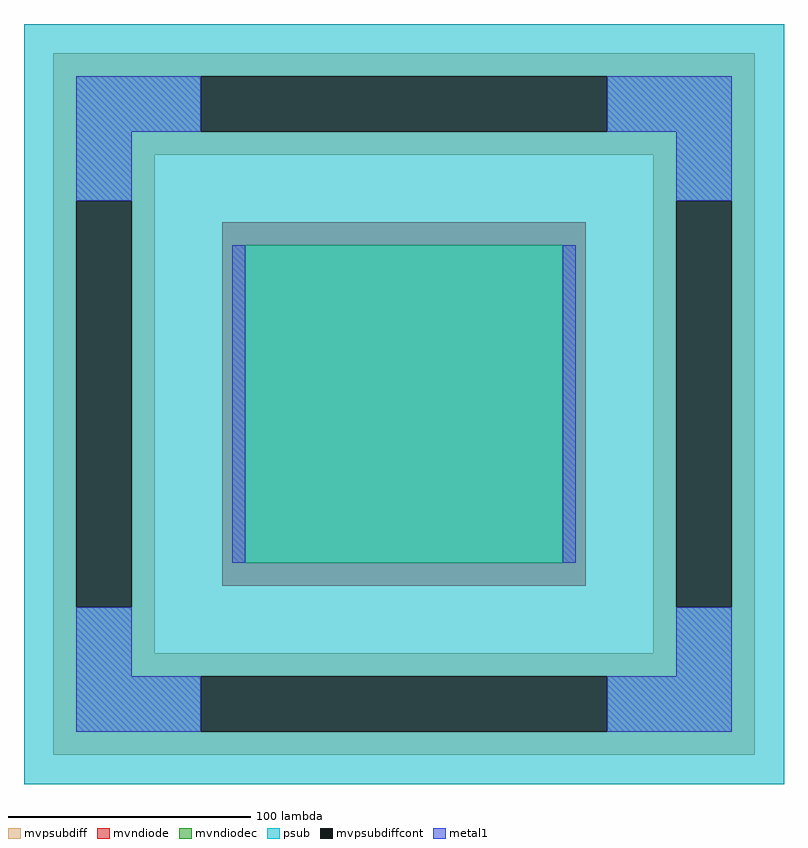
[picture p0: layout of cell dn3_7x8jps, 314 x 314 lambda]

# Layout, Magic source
magic
tech EFXH018D
magscale 1 2
<< psub >>
rect -314 -314 314 314
<< mvpsubdiff >>
rect -290 271 290 290
rect -290 225 -168 271
rect 168 225 290 271
rect -290 206 290 225
rect -290 168 -206 206
rect -290 -168 -271 168
rect -225 -168 -206 168
rect 206 168 290 206
rect -290 -206 -206 -168
rect 206 -168 225 168
rect 271 -168 290 168
rect 206 -206 290 -168
rect -290 -225 290 -206
rect -290 -271 -168 -225
rect 168 -271 290 -225
rect -290 -290 290 -271
<< mvpsubdiffcont >>
rect -168 225 168 271
rect -271 -168 -225 168
rect 225 -168 271 168
rect -168 -271 168 -225
<< mvndiode >>
rect -150 131 150 150
rect -150 -131 -131 131
rect 131 -131 150 131
rect -150 -150 150 -131
<< mvndiodec >>
rect -131 -131 131 131
<< metal1 >>
rect -271 225 -168 271
rect 168 225 271 271
rect -271 168 -225 225
rect 225 168 271 225
rect -142 -131 -131 131
rect 131 -131 142 131
rect -271 -225 -225 -168
rect 225 -225 271 -168
rect -271 -271 -168 -225
rect 168 -271 271 -225
<< properties >>
string parameters w 1.5 l 1.5 area 2.25 peri 6.0 nx 1 ny 1 dummy 0 lmin 0.45 wmin 0.45 elc 1 erc 1 etc 1 ebc 1 doverlap 0 full_metal 1
string gencell dn3
string library efxh018
<< end >>
